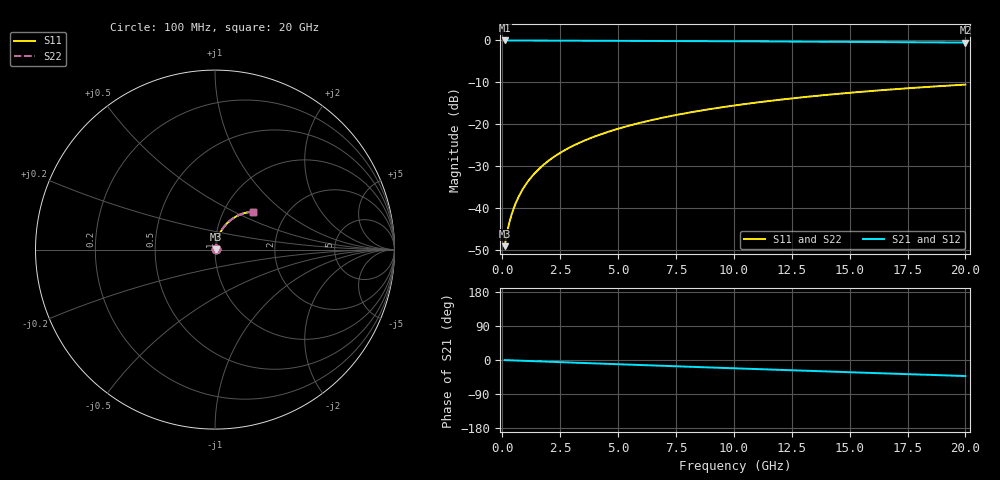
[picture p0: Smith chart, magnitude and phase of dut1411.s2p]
! Touchstone file exported from HFSS 2026.1.0
!  File:  C:/ffzhzh/LocalFiles/Ansys_Project_Files/temp_train_BSMRDL_1411_1783180046_55132.aedt
!  Generated:  11:48:40 PM Jul  4, 2026
!  Design:  BSMRDL
!  Project:  temp_train_BSMRDL_1411_1783180046_55132
! Variables:
!  h_bsmrdl = 5um
!  h_ox = 20um
!  h_rdl = 5um
!  h_sub = 80um
!  h_tmrdl = 5um
!  h_tsv = 80um
!  h_via = 3um
!  l_bsmrdl = 687.83um
!  l_sub = 1087.83um
!  l_tmrdl = 200um
!  m_sub = 200um
!  pitch = 33.87um
!  r_tsv = 6um
!  s_tmrdl = 10um
!  w_bsmrdl = 17.95um
!  w_sub = 500um
!  w_tmrdl = 12um
!  x_tsv_center1 = 206um
!  x_tsv_center2 = 911.78um
!  x_tsv_center3 = 1123.78um
!  x_tsv_center4 = 1829.56um
!  x_tsv_center5 = 2041.56um
!  x_tsv_center6 = 2747.34um
# GHz S MA R 50.000000
! Terminal data exported
! Port[1] = BSM_RDL1_1_T1
! Port[2] = BSM_RDL1_1_T2
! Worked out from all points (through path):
!   200 points, 100 MHz to 20 GHz, reference 50 ohm
!   highest |S21| = -0.02 dB at 100 MHz (marker M1); lowest = -0.5 dB at 20 GHz (marker M2)
!   group delay of S21, straight-line fit = 5.87 ps
!   lowest |S11| = -49.0 dB at 100 MHz (marker M3), VSWR 1.01, Z = 50.3 + j0.21 ohm
!   |S11| at or under -10 dB: start of sweep to end of sweep
!   |S22| runs from -49.0 to -10.5 dB; largest |S21 - S12| = 3.6e-15
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0.1  0.003552 36.0  0.9971 -0.2  0.9971 -0.2  0.003552 36.0
! Gamma 0 0 0 0
! Port Impedance 50 0 50 0
0.2  0.005077 52.6  0.9969 -0.5  0.9969 -0.5  0.005077 52.6
0.3  0.006732 60.8  0.9968 -0.7  0.9968 -0.7  0.006732 60.8
0.4  0.008421 65.8  0.9966 -0.9  0.9966 -0.9  0.008421 65.8
0.5  0.01014 69.2  0.9965 -1.2  0.9965 -1.2  0.01014 69.2
0.6  0.01188 71.6  0.9965 -1.4  0.9965 -1.4  0.01188 71.6
0.8  0.01541 74.7  0.9963 -1.8  0.9963 -1.8  0.01541 74.7
1.1  0.02079 77.1  0.996 -2.5  0.996 -2.5  0.02079 77.1
1.3  0.02438 77.9  0.9958 -3.0  0.9958 -3.0  0.02438 77.9
1.6  0.02978 78.5  0.9955 -3.6  0.9955 -3.6  0.02978 78.5
2.1  0.03874 78.6  0.9948 -4.8  0.9948 -4.8  0.03874 78.6
2.7  0.04937 78.1  0.9938 -6.1  0.9938 -6.1  0.04937 78.1
3.5  0.06331 76.9  0.9923 -7.9  0.9923 -7.9  0.06331 76.9
4.2  0.07527 75.7  0.9908 -9.4  0.9908 -9.4  0.07527 75.7
5  0.0887 74.2  0.9889 -11.2  0.9889 -11.2  0.0887 74.2
5.9  0.1035 72.5  0.9867 -13.1  0.9867 -13.1  0.1035 72.5
6.8  0.118 70.7  0.9844 -15.1  0.9844 -15.1  0.118 70.8
8.3  0.1417 67.8  0.9803 -18.3  0.9803 -18.3  0.1417 67.9
10.1  0.169 64.3  0.9751 -22.1  0.9751 -22.1  0.169 64.3
13.4  0.2162 57.9  0.9644 -29.0  0.9644 -29.0  0.2162 57.9
16.7  0.2592 51.4  0.9529 -35.7  0.9529 -35.7  0.2592 51.5
20  0.2976 45.1  0.9411 -42.3  0.9411 -42.3  0.2975 45.2
